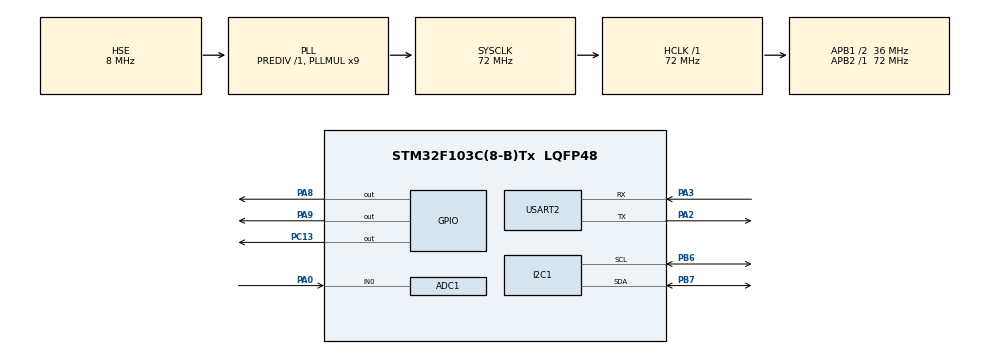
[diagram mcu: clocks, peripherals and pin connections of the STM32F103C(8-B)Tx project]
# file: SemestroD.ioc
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ADC1.Channel-3\#ChannelRegularConversion=ADC_CHANNEL_0
ADC1.ContinuousConvMode=ENABLE
ADC1.EnableRegularConversion=ENABLE
ADC1.NbrOfConversionFlag=1
ADC1.Rank-3\#ChannelRegularConversion=1
ADC1.SamplingTime-3\#ChannelRegularConversion=ADC_SAMPLETIME_1CYCLE_5
ADC1.master=1
Dma.ADC1.0.Direction=DMA_PERIPH_TO_MEMORY
Dma.ADC1.0.Instance=DMA1_Channel1
Dma.ADC1.0.MemDataAlignment=DMA_MDATAALIGN_HALFWORD
Dma.ADC1.0.MemInc=DMA_MINC_ENABLE
Dma.ADC1.0.Mode=DMA_CIRCULAR
Dma.ADC1.0.PeriphDataAlignment=DMA_PDATAALIGN_HALFWORD
Dma.ADC1.0.PeriphInc=DMA_PINC_DISABLE
Dma.ADC1.0.Priority=DMA_PRIORITY_LOW
Dma.Request0=ADC1
FREERTOS.Queues01=PC_data,1,uint16_t,0,Dynamic,NULL,NULL
FREERTOS.Tasks01=defaultTask,24,128,StartDefaultTask,Default,NULL,Dynamic,NULL,NULL;Task03,24,256,StartTask03,Default,NULL,Dynamic,NULL,NULL;Task04,24,128,StartTask04,Default,NULL,Dynamic,NULL,NULL
FREERTOS.configMINIMAL_STACK_SIZE=128
FREERTOS.configUSE_NEWLIB_REENTRANT=1
Mcu.Family=STM32F1
Mcu.Name=STM32F103C(8-B)Tx
Mcu.Package=LQFP48
NVIC.DMA1_Channel1_IRQn=true\:5\:0\:false\:false\:true\:true\:false\:true\:true
NVIC.PriorityGroup=NVIC_PRIORITYGROUP_4
NVIC.TIM4_IRQn=true\:15\:0\:false\:false\:true\:false\:false\:true\:true
NVIC.TimeBase=TIM4_IRQn
NVIC.TimeBaseIP=TIM4
NVIC.USART2_IRQn=true\:5\:0\:false\:false\:true\:true\:true\:true\:true
PA0-WKUP.Signal=ADCx_IN0
PA13.Mode=Serial_Wire
PA13.Signal=SYS_JTMS-SWDIO
PA14.Mode=Serial_Wire
PA14.Signal=SYS_JTCK-SWCLK
PA2.Mode=Asynchronous
PA2.Signal=USART2_TX
PA3.Mode=Asynchronous
PA3.Signal=USART2_RX
PA8.GPIO_PuPd=GPIO_PULLDOWN
PA8.Signal=GPIO_Output
PA9.GPIO_PuPd=GPIO_PULLDOWN
PA9.Signal=GPIO_Output
PB6.Mode=I2C
PB6.Signal=I2C1_SCL
PB7.Mode=I2C
PB7.Signal=I2C1_SDA
PC13-TAMPER-RTC.GPIO_PuPd=GPIO_NOPULL
PC13-TAMPER-RTC.Signal=GPIO_Output
PD0-OSC_IN.Mode=HSE-External-Oscillator
PD0-OSC_IN.Signal=RCC_OSC_IN
PD1-OSC_OUT.Mode=HSE-External-Oscillator
PD1-OSC_OUT.Signal=RCC_OSC_OUT
ProjectManager.HeapSize=0x200
ProjectManager.StackSize=0x400
ProjectManager.TargetToolchain=STM32CubeIDE
RCC.ADCPresc=RCC_ADCPCLK2_DIV6
RCC.AHBFreq_Value=72000000
RCC.APB1CLKDivider=RCC_HCLK_DIV2
RCC.APB1Freq_Value=36000000
RCC.APB1TimFreq_Value=72000000
RCC.APB2Freq_Value=72000000
RCC.APB2TimFreq_Value=72000000
RCC.HCLKFreq_Value=72000000
RCC.PLLMUL=RCC_PLL_MUL9
RCC.PLLSourceVirtual=RCC_PLLSOURCE_HSE
RCC.SYSCLKFreq_VALUE=72000000
RCC.SYSCLKSource=RCC_SYSCLKSOURCE_PLLCLK
RCC.USBFreq_Value=72000000
SH.ADCx_IN0.0=ADC1_IN0,IN0
USART2.VirtualMode=VM_ASYNC
VP_ADC1_Vref_Input.Mode=IN-Vrefint
VP_FREERTOS_VS_CMSIS_V2.Mode=CMSIS_V2
VP_SYS_VS_tim4.Mode=TIM4
board=custom

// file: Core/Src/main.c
/* USER CODE BEGIN Header */
/**
  ******************************************************************************
  * @file           : main.c
  * @brief          : Main program body
  ******************************************************************************
  * @attention
  *
  * Copyright (c) 2024 STMicroelectronics.
  * All rights reserved.
  *
  * This software is licensed under terms that can be found in the LICENSE file
  * in the root directory of this software component.
  * If no LICENSE file comes with this software, it is provided AS-IS.
  *
  ******************************************************************************
  */
/* USER CODE END Header */
#include "main.h"
#include "cmsis_os.h"

/* USER CODE BEGIN Includes */
#include <i2c-lcd.h>
#include <string.h>
#include <stdio.h>
#include <math.h>
/* USER CODE END Includes */

/* USER CODE BEGIN PD */

#define ADC_buf_len 1000
#define ldata 101
#define ADC_REF 2.41
#define SUNTAS 0.72
#define AMPLITUDE 100
#define buff2 20
//#define MAX_VALUES_BUFFER_SIZE 3

/* USER CODE END PD */

ADC_HandleTypeDef hadc1;
DMA_HandleTypeDef hdma_adc1;

I2C_HandleTypeDef hi2c1;

UART_HandleTypeDef huart2;

/* Definitions for defaultTask */
osThreadId_t defaultTaskHandle;
const osThreadAttr_t defaultTask_attributes = {
  .name = "defaultTask",
  .stack_size = 128 * 4,
  .priority = (osPriority_t) osPriorityNormal,
};
/* Definitions for Task03 */
osThreadId_t Task03Handle;
const osThreadAttr_t Task03_attributes = {
  .name = "Task03",
  .stack_size = 256 * 4,
  .priority = (osPriority_t) osPriorityNormal,
};
/* Definitions for Task04 */
osThreadId_t Task04Handle;
const osThreadAttr_t Task04_attributes = {
  .name = "Task04",
  .stack_size = 128 * 4,
  .priority = (osPriority_t) osPriorityNormal,
};
/* Definitions for PC_data */
osMessageQueueId_t PC_dataHandle;
const osMessageQueueAttr_t PC_data_attributes = {
  .name = "PC_data"
};
/* USER CODE BEGIN PV */

uint16_t adc_buf[ADC_buf_len];
float rms_value;
float rms_value2;
uint32_t sum_squares = 0;
float avg_value;
float max_value;
// double suntas = 0.44;
char msg[16];
uint32_t tcount = 0;

uint32_t max_buf[buff2];
uint32_t max_buf_index = 0;
uint32_t sum = 0;
uint32_t ncount = 0;
uint32_t Voffset = 1180;

int lentele[] = {0, 5, 10, 15, 20, 25, 30, 35, 40, 45, 50, 55, 60, 65, 70, 75, 80, 85, 90, 95, 100,
		105, 110, 115, 120, 125, 130, 135, 140, 145, 150, 155, 160, 165, 170, 175, 180, 185, 190, 195, 200,
		205, 210, 215, 220, 225, 230, 235, 240, 245, 250, 255, 260, 265, 270, 275, 280, 285, 290, 295, 300,
		305, 310, 315, 320, 325, 330, 335, 340, 345, 350, 355, 360, 365, 370, 375, 380, 385, 390, 395, 400,
		405, 410, 415, 420, 425, 430, 435, 440, 445, 450, 455, 460, 465, 470, 475, 480, 485, 490, 495, 500};

/* USER CODE END PV */

void SystemClock_Config(void);
static void MX_GPIO_Init(void);
static void MX_DMA_Init(void);
static void MX_ADC1_Init(void);
static void MX_USART2_UART_Init(void);
static void MX_I2C1_Init(void);
void StartDefaultTask(void *argument);
void StartTask03(void *argument);
void StartTask04(void *argument);

/* USER CODE BEGIN PFP */

//void display_rms_value(float value);

/* USER CODE END PFP */

/* USER CODE BEGIN 0 */
void display_rms_value(float value, float value2)
{
    char buffer[32]; // Buffer to hold the string representation of the RMS value
    char buffer_2[32];

    // Convert the float value to a string with two decimal places
    snprintf(buffer, sizeof(buffer), "PEAK: %.f mA", value);
	  snprintf(buffer_2, sizeof(buffer_2), "RMS: %.f mA", value2);

    lcd_clear();           // Clear the LCD screen
    lcd_put_cur(0,0);     // Set cursor to the beginning of the first line
    lcd_send_string(buffer); // Display the RMS value on the LCD
    lcd_put_cur(1,0);     // Set cursor to the beginning of the first line
    lcd_send_string(buffer_2);
}

int _write(int file, char *ptr, int len)
{
/* Implement your write code here, this is used by puts and printf for example */
for(int i=0 ; i<len ; i++)
 ITM_SendChar((*ptr++));
return len;
}

float correct_rms_value(float rms_value) {
    int index = (rms_value - Voffset) / 10;  // Map rms_value to LUT index

    // Ensure the index is within the bounds of the lookup table
    if (index < 0) {
        index = 0;
    } else if (index >= ldata) {
        index = ldata - 1;
    }

    return rms_value * lentele[index];
}

/* USER CODE END 0 */

int main(void)
{

  /* MCU Configuration--------------------------------------------------------*/

  /* Reset of all peripherals, Initializes the Flash interface and the Systick. */
  HAL_Init();

  /* Configure the system clock */
  SystemClock_Config();

  /* USER CODE BEGIN SysInit */

  //HAL_TIM_Base_Start(&htim1); // Start TIM1

  /* USER CODE END SysInit */

  /* Initialize all configured peripherals */
  MX_GPIO_Init();
  MX_DMA_Init();
  MX_ADC1_Init();
  MX_USART2_UART_Init();
  MX_I2C1_Init();
  /* USER CODE BEGIN 2 */
	lcd_init ();
	HAL_ADC_Start_DMA(&hadc1, (uint32_t*)adc_buf, ADC_buf_len);
//  HAL_TIM_Base_Start_IT(&htim2); // Start TIM2
//  HAL_TIM_Base_Start_IT(&htim3); // Start TIM3

//	  lcd_send_string("a tu veiki?");
//		HAL_Delay(10);

  /* USER CODE END 2 */

  /* Init scheduler */
  osKernelInitialize();

  /* Create the queue(s) */
  /* creation of PC_data */
  PC_dataHandle = osMessageQueueNew (1, sizeof(uint32_t), &PC_data_attributes);

  /* Create the thread(s) */
  /* creation of defaultTask */
  defaultTaskHandle = osThreadNew(StartDefaultTask, NULL, &defaultTask_attributes);

  /* creation of Task03 */
  Task03Handle = osThreadNew(StartTask03, NULL, &Task03_attributes);

  /* creation of Task04 */
  Task04Handle = osThreadNew(StartTask04, NULL, &Task04_attributes);

  /* Start scheduler */
  osKernelStart();

  /* We should never get here as control is now taken by the scheduler */

  /* Infinite loop */
  /* USER CODE BEGIN WHILE */
  while (1)
  {
//	    max_value = 0;
//  for (int i = 0; i < ADC_buf_len; i++) {
//      if (adc_buf[i] > max_value) {
//          max_value = adc_buf[i];
//      }
//  }
//  	  rms_value = max_value/4096;
//		avg_value = 0;
//  for (int i = 0; i < ADC_buf_len; i++)
//  {
//      avg_value += adc_buf[i];
//  }
//   avg_value = avg_value/ADC_buf_len;

  // Calculate RMS value
//  int sum = 0;
//  for (int i = 0; i < ADC_buf_len; i++)
//  {
//      sum += pow((adc_buf[i] - avg_value), 2);
//  }
//  rms_value = sqrt(sum / ADC_buf_len);

    /* USER CODE END WHILE */

  }
}

void SystemClock_Config(void)
{
  RCC_OscInitTypeDef RCC_OscInitStruct = {0};
  RCC_ClkInitTypeDef RCC_ClkInitStruct = {0};
  RCC_PeriphCLKInitTypeDef PeriphClkInit = {0};

  /** Initializes the RCC Oscillators according to the specified parameters
  * in the RCC_OscInitTypeDef structure.
  */
  RCC_OscInitStruct.OscillatorType = RCC_OSCILLATORTYPE_HSE;
  RCC_OscInitStruct.HSEState = RCC_HSE_ON;
  RCC_OscInitStruct.HSEPredivValue = RCC_HSE_PREDIV_DIV1;
  RCC_OscInitStruct.HSIState = RCC_HSI_ON;
  RCC_OscInitStruct.PLL.PLLState = RCC_PLL_ON;
  RCC_OscInitStruct.PLL.PLLSource = RCC_PLLSOURCE_HSE;
  RCC_OscInitStruct.PLL.PLLMUL = RCC_PLL_MUL9;
  if (HAL_RCC_OscConfig(&RCC_OscInitStruct) != HAL_OK)
  {
    Error_Handler();
  }

  /** Initializes the CPU, AHB and APB buses clocks
  */
  RCC_ClkInitStruct.ClockType = RCC_CLOCKTYPE_HCLK|RCC_CLOCKTYPE_SYSCLK
                              |RCC_CLOCKTYPE_PCLK1|RCC_CLOCKTYPE_PCLK2;
  RCC_ClkInitStruct.SYSCLKSource = RCC_SYSCLKSOURCE_PLLCLK;
  RCC_ClkInitStruct.AHBCLKDivider = RCC_SYSCLK_DIV1;
  RCC_ClkInitStruct.APB1CLKDivider = RCC_HCLK_DIV2;
  RCC_ClkInitStruct.APB2CLKDivider = RCC_HCLK_DIV1;

  if (HAL_RCC_ClockConfig(&RCC_ClkInitStruct, FLASH_LATENCY_2) != HAL_OK)
  {
    Error_Handler();
  }
  PeriphClkInit.PeriphClockSelection = RCC_PERIPHCLK_ADC;
  PeriphClkInit.AdcClockSelection = RCC_ADCPCLK2_DIV6;
  if (HAL_RCCEx_PeriphCLKConfig(&PeriphClkInit) != HAL_OK)
  {
    Error_Handler();
  }
}

static void MX_ADC1_Init(void)
{

  ADC_ChannelConfTypeDef sConfig = {0};

  /** Common config
  */
  hadc1.Instance = ADC1;
  hadc1.Init.ScanConvMode = ADC_SCAN_DISABLE;
  hadc1.Init.ContinuousConvMode = ENABLE;
  hadc1.Init.DiscontinuousConvMode = DISABLE;
  hadc1.Init.ExternalTrigConv = ADC_SOFTWARE_START;
  hadc1.Init.DataAlign = ADC_DATAALIGN_RIGHT;
  hadc1.Init.NbrOfConversion = 1;
  if (HAL_ADC_Init(&hadc1) != HAL_OK)
  {
    Error_Handler();
  }

  /** Configure Regular Channel
  */
  sConfig.Channel = ADC_CHANNEL_0;
  sConfig.Rank = ADC_REGULAR_RANK_1;
  sConfig.SamplingTime = ADC_SAMPLETIME_1CYCLE_5;
  if (HAL_ADC_ConfigChannel(&hadc1, &sConfig) != HAL_OK)
  {
    Error_Handler();
  }

}

static void MX_I2C1_Init(void)
{

  hi2c1.Instance = I2C1;
  hi2c1.Init.ClockSpeed = 100000;
  hi2c1.Init.DutyCycle = I2C_DUTYCYCLE_2;
  hi2c1.Init.OwnAddress1 = 0;
  hi2c1.Init.AddressingMode = I2C_ADDRESSINGMODE_7BIT;
  hi2c1.Init.DualAddressMode = I2C_DUALADDRESS_DISABLE;
  hi2c1.Init.OwnAddress2 = 0;
  hi2c1.Init.GeneralCallMode = I2C_GENERALCALL_DISABLE;
  hi2c1.Init.NoStretchMode = I2C_NOSTRETCH_DISABLE;
  if (HAL_I2C_Init(&hi2c1) != HAL_OK)
  {
    Error_Handler();
  }
  /* USER CODE BEGIN I2C1_Init 2 */
  /* Paleidžiam pertrauktis */

	//HAL_TIM_Base_Start_IT(&htim2);

  /* USER CODE END I2C1_Init 2 */

}

static void MX_USART2_UART_Init(void)
{

  huart2.Instance = USART2;
  huart2.Init.BaudRate = 115200;
  huart2.Init.WordLength = UART_WORDLENGTH_8B;
  huart2.Init.StopBits = UART_STOPBITS_1;
  huart2.Init.Parity = UART_PARITY_NONE;
  huart2.Init.Mode = UART_MODE_TX_RX;
  huart2.Init.HwFlowCtl = UART_HWCONTROL_NONE;
  huart2.Init.OverSampling = UART_OVERSAMPLING_16;
  if (HAL_UART_Init(&huart2) != HAL_OK)
  {
    Error_Handler();
  }

}

static void MX_DMA_Init(void)
{

  /* DMA controller clock enable */
  __HAL_RCC_DMA1_CLK_ENABLE();

  /* DMA interrupt init */
  /* DMA1_Channel1_IRQn interrupt configuration */
  HAL_NVIC_SetPriority(DMA1_Channel1_IRQn, 5, 0);
  HAL_NVIC_EnableIRQ(DMA1_Channel1_IRQn);

}

static void MX_GPIO_Init(void)
{
  GPIO_InitTypeDef GPIO_InitStruct = {0};

  /* GPIO Ports Clock Enable */
  __HAL_RCC_GPIOC_CLK_ENABLE();
  __HAL_RCC_GPIOD_CLK_ENABLE();
  __HAL_RCC_GPIOA_CLK_ENABLE();
  __HAL_RCC_GPIOB_CLK_ENABLE();

  /*Configure GPIO pin Output Level */
  HAL_GPIO_WritePin(GPIOC, GPIO_PIN_13, GPIO_PIN_RESET);

  /*Configure GPIO pin Output Level */
  HAL_GPIO_WritePin(GPIOA, GPIO_PIN_8|GPIO_PIN_9, GPIO_PIN_RESET);

  /*Configure GPIO pin : PC13 */
  GPIO_InitStruct.Pin = GPIO_PIN_13;
  GPIO_InitStruct.Mode = GPIO_MODE_OUTPUT_PP;
  GPIO_InitStruct.Pull = GPIO_NOPULL;
  GPIO_InitStruct.Speed = GPIO_SPEED_FREQ_LOW;
  HAL_GPIO_Init(GPIOC, &GPIO_InitStruct);

  /*Configure GPIO pins : PA8 PA9 */
  GPIO_InitStruct.Pin = GPIO_PIN_8|GPIO_PIN_9;
  GPIO_InitStruct.Mode = GPIO_MODE_OUTPUT_PP;
  GPIO_InitStruct.Pull = GPIO_PULLDOWN;
  GPIO_InitStruct.Speed = GPIO_SPEED_FREQ_LOW;
  HAL_GPIO_Init(GPIOA, &GPIO_InitStruct);

}

/* USER CODE BEGIN 4 */

//void skaiciavimai()
//{
//	  HAL_GPIO_TogglePin(GPIOC, GPIO_PIN_13);

    // Calculate average value
//		    max_value = 0;
//	  for (int i = 0; i < ADC_buf_len; i++) {
//	      if (adc_buf[i] > max_value) {
//	          max_value = adc_buf[i];
//	      }
//	  }
//	  	  avg_value = max_value;
//	  	  rms_value = max_value/4095;

//    avg_value = 0;
//    for (int i = 0; i < ADC_buf_len; i++)
//    {
//        avg_value += adc_buf[i];
//    }
//    avg_value = avg_value/ADC_buf_len;
//
//    // Calculate RMS value
//    float sum = 0;
//    for (int i = 0; i < ADC_buf_len; i++)
//    {
//        sum += pow((adc_buf[i] - avg_value), 2);
//    }
//    rms_value = (sqrt((sum / ADC_buf_len)/4095)) * ADC_REF;
//HAL_Delay(1);

//		operation_flag |= 1; // UART
//    operation_flag |= 2; // LCD

//	}

//void display_rms_value(float value, float value2)
//{
//    char buffer[16]; // Buffer to hold the string representation of the RMS value
//    char buffer_2[16];
//
//    // Convert the float value to a string with two decimal places
//    snprintf(buffer, sizeof(buffer), "RMS: %d mV", (int)value);
//	  snprintf(buffer_2, sizeof(buffer_2), "max: %d mA", (int)value2);
//
//    lcd_clear();           // Clear the LCD screen
//    lcd_put_cur(0,0);     // Set cursor to the beginning of the first line
//    lcd_send_string(buffer); // Display the RMS value on the LCD
//    lcd_put_cur(1,0);     // Set cursor to the beginning of the first line
//    lcd_send_string(buffer_2);
//}

//void HAL_TIM_PeriodElapsedCallback(TIM_HandleTypeDef *htim)
//{
//if (htim->Instance == TIM2)
//	{
//				sprintf(msg, "%hu\r\n", *adc_buf);
//				HAL_UART_Transmit_IT(&huart2, (uint8_t *)msg, strlen(msg));
////				HAL_UART_Transmit_IT(&huart2, (uint8_t *)adc_buf, sizeof(adc_buf));
//        HAL_GPIO_TogglePin(GPIOA, GPIO_PIN_8);
//	}
//
//if (htim->Instance == TIM3)
//{
////		  	skaiciavimai();
//			display_rms_value(avg_value, rms_value);
////	 		HAL_GPIO_TogglePin(GPIOA, GPIO_PIN_9);
//}
//
//}

/*
void MX_LCD_Init(void)
{
    lcd_init();
}
*/
/*
		    char buffer[16]; // Buffer to hold the string representation of the RMS value

    // Convert the float value to a string with two decimal places
    snprintf(buffer, sizeof(buffer), "RMS: %.2f", rms_value);

    //lcd_init();           // Clear the LCD screen
    lcd_send_cmd (0x80);     // Set cursor to the beginning of the first line
    lcd_send_string(buffer); // Display the RMS value on the LCD
*/

/*
void HAL_ADC_ConvHalfCpltCallback(ADC_HandleTypeDef* Hadc) {
	HAL_GPIO_WritePin(GPIOC, GPIO_PIN_13, GPIO_PIN_SET);
}

void HAL_ADC_ConvCpltCallback(ADC_HandleTypeDef* Hadc) {
	HAL_GPIO_WritePin(GPIOC, GPIO_PIN_13, GPIO_PIN_RESET);
}

*/

/* USER CODE END 4 */

void StartDefaultTask(void *argument)
{
  for(;;)
  {
    osDelay(1);
  }
}

void StartTask03(void *argument)
{
  /* USER CODE BEGIN StartTask03 */

//	uint8_t impulsas = 0;
//	uint8_t ar_buvo_pulsas = 0;
  /* Infinite loop */
  for(;;)
  {
	  	  tcount++;
//	  	  ncount++;
//	  	  HAL_GPIO_TogglePin(GPIOC, GPIO_PIN_13);
	  	  max_value = 0;
	  	  for (int i = 0; i < ADC_buf_len; i++) {
	  	      if (adc_buf[i] > Voffset) {
	  	    	  	   if (adc_buf[i] > max_value) {
						max_value = adc_buf[i];  }
	  	    	  	   else {
	  	    	  if (max_buf_index < buff2) {
	  		  			max_buf[max_buf_index++] = max_value; }
//	  	    	  else {
//	  	    		HAL_GPIO_WritePin(GPIOA, GPIO_PIN_8, GPIO_PIN_SET);}
	  	    	  }}

	  		}
//	  		if (adc_buf[i] < Voffset + 1) {
//	  			max_buf[max_buf_index++] = max_value - Voffset;
//	  			avg_value = 1;
//		        rms_value = max_value / 827 * 2140;
//		  	  	int rms_value_int = (int)rms_value;
	//	  	  	printf("duomenys: %d\n", rms_value_int);
//		  	  	display_rms_value(avg_value, rms_value);
//	  			impulsas = 0;
//	  	  }

//	  	  V_value = max_value - 1096;
//	  	  if (ncount == 4) {
//	  		osMessageQueuePut(PC_dataHandle, &max_value, 0, osWaitForever);
//	  		ncount = 0;
//	  	  }
	  	  if (tcount == 10)
	  	  { ncount = 0;
//	  		  if (ncount == 5) {
//	  			display_rms_value(0, 0);
//	  			ncount = 0;
//	  			HAL_GPIO_WritePin(GPIOC, GPIO_PIN_13, GPIO_PIN_RESET);
//	  				  		  }
//
	  	if (max_buf_index == 0) {
	  		display_rms_value(0, 0);
	  		tcount = 0;
	  	}
	  	  else {
	  		  ncount = 0;
	      for(int i = 0; i < max_buf_index; i++) {
	          if (max_buf[i] !=0) {
			  sum += max_buf[i];
			  ncount++; }
	      }
	      if (ncount > 0) {
	      avg_value = sum / ncount; }
	      else {
	    	  display_rms_value(0, 0);
	      }

	      max_buf_index = 0;
	      sum = 0;
	      tcount = 0;
	      ncount = 0;

	      if(avg_value > 0) {
//	        rms_value = ((max_value - Voffset) / AMPLITUDE *  ADC_REF / SUNTAS) * 0.7071;
	    	  rms_value = (0.549 * max_value) - 649.31;
	    	  rms_value2 = rms_value / 0.7071;
//	    	  rms_value2 = (max_value - 1190) * 216 / 393 + 4;
	    	  if (rms_value > 0) {
	  	  	display_rms_value(rms_value2, rms_value); }
	    	  else{
	    		  		  	  	display_rms_value(0, 0);
	    		  	      	  	}
	      	  	  	  	  	  }
	      else {
//		  	  	printf("--- \n");
		  	  	display_rms_value(0, 0);
	      	  	}

	  	  }
//	  		ncount = 0;
	  	  }
    osDelay(50);
  }
  /* USER CODE END StartTask03 */
}

void StartTask04(void *argument)
{
  /* USER CODE BEGIN StartTask04 */
//	uint32_t gauta = 0;
  /* Infinite loop */
  for(;;)
  {
//	  	osMessageQueueGet(PC_dataHandle, &gauta, NULL, osWaitForever);
		sprintf(msg, "%hu\r\n", *adc_buf);
//		sprintf(msg, "%hu\r\n", gauta);

		HAL_UART_Transmit_IT(&huart2, (uint8_t *)msg, strlen(msg));
//				HAL_UART_Transmit_IT(&huart2, (uint8_t *)adc_buf, sizeof(adc_buf));
		HAL_GPIO_TogglePin(GPIOA, GPIO_PIN_8);

    osDelay(200);
  }
  /* USER CODE END StartTask04 */
}

void HAL_TIM_PeriodElapsedCallback(TIM_HandleTypeDef *htim)
{
  if (htim->Instance == TIM4) {
    HAL_IncTick();
  }
}

void Error_Handler(void)
{
  __disable_irq();
  while (1)
  {
  }
}
